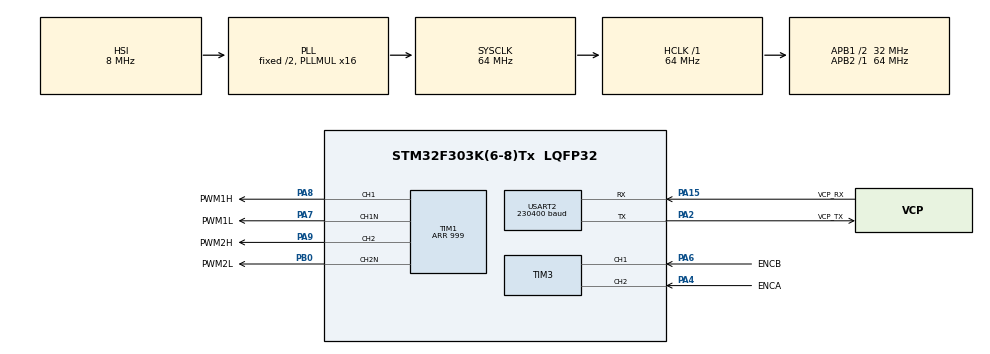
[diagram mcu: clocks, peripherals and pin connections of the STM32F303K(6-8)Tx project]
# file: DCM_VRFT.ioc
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Mcu.Family=STM32F3
Mcu.Name=STM32F303K(6-8)Tx
Mcu.Package=LQFP32
NVIC.PriorityGroup=NVIC_PRIORITYGROUP_4
NVIC.TIM6_DAC1_IRQn=true\:0\:0\:false\:false\:true\:true\:true\:true
PA13.GPIO_Label=SWDIO
PA13.Mode=Serial_Wire
PA13.Signal=SYS_JTMS-SWDIO
PA14.GPIO_Label=SWCLK
PA14.Mode=Serial_Wire
PA14.Signal=SYS_JTCK-SWCLK
PA15.GPIO_Label=VCP_RX
PA15.Mode=Asynchronous
PA15.Signal=USART2_RX
PA2.GPIO_Label=VCP_TX
PA2.Mode=Asynchronous
PA2.Signal=USART2_TX
PA4.GPIO_Label=ENCA
PA4.Signal=S_TIM3_CH2
PA6.GPIO_Label=ENCB
PA6.Signal=S_TIM3_CH1
PA7.GPIO_Label=PWM1L
PA7.Mode=PWM Generation1 CH1 CH1N
PA7.Signal=TIM1_CH1N
PA8.GPIO_Label=PWM1H
PA8.Signal=S_TIM1_CH1
PA9.GPIO_Label=PWM2H
PA9.Signal=S_TIM1_CH2
PB0.GPIO_Label=PWM2L
PB0.Mode=PWM Generation2 CH2 CH2N
PB0.Signal=TIM1_CH2N
PF0\ /\ OSC_IN.GPIO_Label=MCO
PF0\ /\ OSC_IN.Mode=HSE-External-Clock-Source
PF0\ /\ OSC_IN.Signal=RCC_OSC_IN
ProjectManager.HeapSize=0x200
ProjectManager.StackSize=0x400
ProjectManager.TargetToolchain=STM32CubeIDE
RCC.AHBFreq_Value=64000000
RCC.APB1CLKDivider=RCC_HCLK_DIV2
RCC.APB1Freq_Value=32000000
RCC.APB1TimFreq_Value=64000000
RCC.APB2Freq_Value=64000000
RCC.APB2TimFreq_Value=64000000
RCC.CortexFreq_Value=64000000
RCC.HCLKFreq_Value=64000000
RCC.HSE_VALUE=8000000
RCC.HSI_VALUE=8000000
RCC.PLLMUL=RCC_PLL_MUL16
RCC.SYSCLKFreq_VALUE=64000000
RCC.TIM1Selection=RCC_TIM1CLK_PLLCLK
SH.S_TIM1_CH1.0=TIM1_CH1,PWM Generation1 CH1 CH1N
SH.S_TIM1_CH2.0=TIM1_CH2,PWM Generation2 CH2 CH2N
SH.S_TIM3_CH1.0=TIM3_CH1,Encoder_Interface
SH.S_TIM3_CH2.0=TIM3_CH2,Encoder_Interface
TIM1.Channel-PWM\ Generation1\ CH1\ CH1N=TIM_CHANNEL_1
TIM1.Channel-PWM\ Generation2\ CH2\ CH2N=TIM_CHANNEL_2
TIM1.DeadTime=64
TIM1.Period=999
TIM3.EncoderMode=TIM_ENCODERMODE_TI12
TIM6.Period=999
TIM6.Prescaler=63
TIM7.Prescaler=63
USART2.BaudRate=230400
USART2.VirtualMode-Asynchronous=VM_ASYNC
VP_TIM6_VS_ClockSourceINT.Mode=Enable_Timer
VP_TIM7_VS_ClockSourceINT.Mode=Enable_Timer
board=NUCLEO-F303K8

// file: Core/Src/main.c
/* USER CODE BEGIN Header */
/**
  ******************************************************************************
  * @file           : main.c
  * @brief          : Main program body
  ******************************************************************************
  * @attention
  *
  * Copyright (c) 2023 STMicroelectronics.
  * All rights reserved.
  *
  * This software is licensed under terms that can be found in the LICENSE file
  * in the root directory of this software component.
  * If no LICENSE file comes with this software, it is provided AS-IS.
  *
  ******************************************************************************
  */
/* USER CODE END Header */
#include "main.h"
#include "tim.h"
#include "usart.h"
#include "gpio.h"

/* USER CODE BEGIN Includes */
#include "stdio.h"
#include "math.h"

/* USER CODE END Includes */

/* USER CODE BEGIN PV */
float omega;

/* USER CODE END PV */

void SystemClock_Config(void);
/* USER CODE BEGIN PFP */
void Set_Motor(int);
float PID(float, float);

/* USER CODE END PFP */

int main(void)
{
  /* USER CODE BEGIN 1 */
	setbuf(stdout, NULL);

  /* USER CODE END 1 */

  /* MCU Configuration--------------------------------------------------------*/

  /* Reset of all peripherals, Initializes the Flash interface and the Systick. */
  HAL_Init();

  /* Configure the system clock */
  SystemClock_Config();

  /* Initialize all configured peripherals */
  MX_GPIO_Init();
  MX_USART2_UART_Init();
  MX_TIM1_Init();
  MX_TIM3_Init();
  MX_TIM6_Init();
  MX_TIM7_Init();
  /* USER CODE BEGIN 2 */
  LL_USART_EnableIT_RXNE(USART2);

  LL_TIM_EnableCounter(TIM1);
  LL_TIM_CC_EnableChannel(TIM1, LL_TIM_CHANNEL_CH1);
  LL_TIM_CC_EnableChannel(TIM1, LL_TIM_CHANNEL_CH1N);
  LL_TIM_CC_EnableChannel(TIM1, LL_TIM_CHANNEL_CH2);
  LL_TIM_CC_EnableChannel(TIM1, LL_TIM_CHANNEL_CH2N);
  LL_TIM_EnableAllOutputs(TIM1);
  LL_TIM_OC_SetCompareCH1(TIM1, 0);
  LL_TIM_OC_SetCompareCH2(TIM1, 0);

  LL_TIM_EnableCounter(TIM3);

  LL_TIM_EnableCounter(TIM6);

  LL_TIM_EnableCounter(TIM7);

  LL_mDelay(1000);
  LL_TIM_EnableIT_UPDATE(TIM6);

  /* USER CODE END 2 */

  /* Infinite loop */
  while (1)
  {

  }
}

void SystemClock_Config(void)
{
  RCC_OscInitTypeDef RCC_OscInitStruct = {0};
  RCC_ClkInitTypeDef RCC_ClkInitStruct = {0};
  RCC_PeriphCLKInitTypeDef PeriphClkInit = {0};

  /** Initializes the RCC Oscillators according to the specified parameters
  * in the RCC_OscInitTypeDef structure.
  */
  RCC_OscInitStruct.OscillatorType = RCC_OSCILLATORTYPE_HSI;
  RCC_OscInitStruct.HSIState = RCC_HSI_ON;
  RCC_OscInitStruct.HSICalibrationValue = RCC_HSICALIBRATION_DEFAULT;
  RCC_OscInitStruct.PLL.PLLState = RCC_PLL_ON;
  RCC_OscInitStruct.PLL.PLLSource = RCC_PLLSOURCE_HSI;
  RCC_OscInitStruct.PLL.PLLMUL = RCC_PLL_MUL16;
  if (HAL_RCC_OscConfig(&RCC_OscInitStruct) != HAL_OK)
  {
    Error_Handler();
  }

  /** Initializes the CPU, AHB and APB buses clocks
  */
  RCC_ClkInitStruct.ClockType = RCC_CLOCKTYPE_HCLK|RCC_CLOCKTYPE_SYSCLK
                              |RCC_CLOCKTYPE_PCLK1|RCC_CLOCKTYPE_PCLK2;
  RCC_ClkInitStruct.SYSCLKSource = RCC_SYSCLKSOURCE_PLLCLK;
  RCC_ClkInitStruct.AHBCLKDivider = RCC_SYSCLK_DIV1;
  RCC_ClkInitStruct.APB1CLKDivider = RCC_HCLK_DIV2;
  RCC_ClkInitStruct.APB2CLKDivider = RCC_HCLK_DIV1;

  if (HAL_RCC_ClockConfig(&RCC_ClkInitStruct, FLASH_LATENCY_2) != HAL_OK)
  {
    Error_Handler();
  }
  PeriphClkInit.PeriphClockSelection = RCC_PERIPHCLK_TIM1;
  PeriphClkInit.Tim1ClockSelection = RCC_TIM1CLK_PLLCLK;
  if (HAL_RCCEx_PeriphCLKConfig(&PeriphClkInit) != HAL_OK)
  {
    Error_Handler();
  }
}

/* USER CODE BEGIN 4 */
void __io_putchar(uint8_t c) {
	LL_USART_TransmitData8(USART2, c);
	while (LL_USART_IsActiveFlag_TXE(USART2) == 0);
}

void Controller()
{
	const float T_ctrl = 0.001f;
	const float PPR = 2048.0f;
	const float CPR = PPR * 4;

	int16_t count = -LL_TIM_GetCounter(TIM3);
	LL_TIM_SetCounter(TIM3, 0);
	omega = (float)count / T_ctrl / CPR * 2 * M_PI;

	/*
	static int step;
	Set_Motor((int)PID(omega, 500.0f));
	printf("%.3f,%f\r\n", (float)step * 0.001f, omega);
	step += 1;
	*/

	static int step;
	if (step < 1000) {
		Set_Motor((int)PID(omega, 200.0f));
	}else if (step < 2000) {
		printf("%.3f,%f\r\n", (float)step * 0.001f, omega);
		Set_Motor((int)PID(omega, 500.0f));
	} else if (step < 3000) {
		Set_Motor((int)PID(omega, 500.0f));
		printf("%.3f,%f\r\n", (float)step * 0.001f, omega);
	} else {
		Set_Motor(300);
	}
	step += 1;
}

void Set_Motor(int duty)
{
	if (duty > 950) {
		duty = 950;
	} else if(duty < -950) {
		duty = -950;
	}

	if (duty > 0) {
		LL_TIM_OC_SetCompareCH1(TIM1, duty);
		LL_TIM_OC_SetCompareCH2(TIM1, 0);
	} else if (duty < 0) {
		LL_TIM_OC_SetCompareCH1(TIM1, 0);
		LL_TIM_OC_SetCompareCH2(TIM1, -duty);
	} else {
		LL_TIM_OC_SetCompareCH1(TIM1, 0);
		LL_TIM_OC_SetCompareCH2(TIM1, 0);
	}
}

float PID(float input, float ref)
{
	const float KP = -0.013255f;
	const float KI = 0.011235f;
	const float KD = 0.178028f;
	const float T_ctrl = 0.001f;

	static float ierror;
	static float derror;

	float error = ref - input;
	ierror += error;
	derror = error - derror;

	float output = KP * error + KI * ierror + KD * derror;

	derror = error;

	return output;
}

/* USER CODE END 4 */

void Error_Handler(void)
{
  __disable_irq();
  while (1)
  {
  }
}
